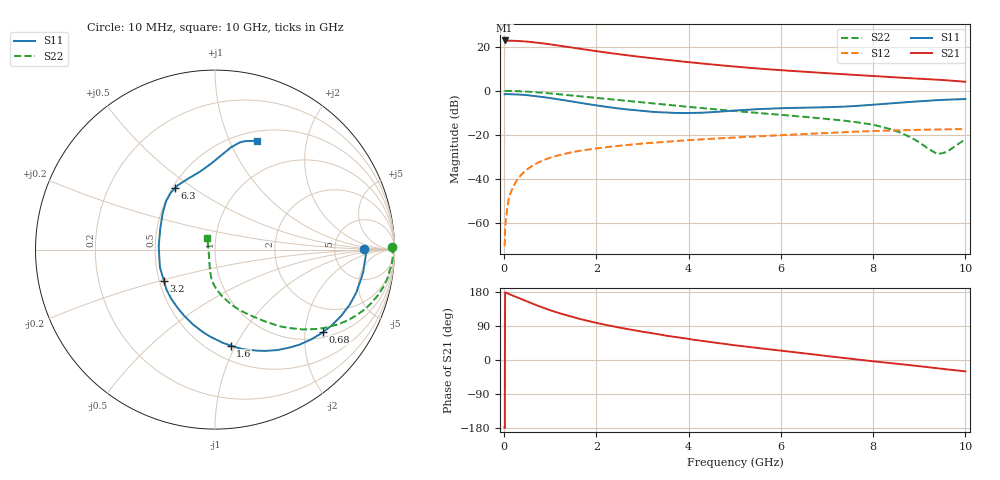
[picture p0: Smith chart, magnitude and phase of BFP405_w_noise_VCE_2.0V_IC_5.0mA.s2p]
! Infineon Technologies  Discrete & RF Semiconductors
! BFP405
! VCE =  2.0 V,  IC =  5.0 mA
! Common Emitter S-Parameters:  Jan 2016
# GHz  S  MA  R  50
!  f  S11  S21  S12  S22
! GHz  MAG  ANG  MAG  ANG  MAG  ANG  MAG  ANG
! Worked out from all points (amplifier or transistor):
!   233 points, 10 MHz to 10 GHz, reference 50 ohm
!   highest |S21| = 22.8 dB at 10 MHz (marker M1)
!   |S21| within 3 dB of that: start of sweep to 1.411 GHz
!   unconditionally stable (mu >= 1): start of sweep to 14.49 MHz; 3.362 GHz to end of sweep
!   at 200 MHz: K = 0.08, MSG = 33.1 dB, |S12| = -43.5 dB
!   at 1.74 GHz: K = 0.55, MSG = 22.8 dB, |S12| = -26.9 dB
!   at 10 GHz: K = 1.47, MAG = 6.7 dB, |S12| = -17.3 dB
!   lowest NFmin = 1.22 dB at 900 MHz
!   S11 on the Smith chart (normalised r, x): 10 MHz: 11, +0; 680 MHz: 1.16, -2.49; 1.6 GHz: 0.63, -0.95; 3.2 GHz: 0.53, -0.21; 6.3 GHz: 0.52, +0.42; 10 GHz: 0.61, +1.27
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0.01  0.8328 0.3  13.8 -177.5  0.0003 8.6  0.9861 1.0
0.02  0.8413 -1.1  13.72 178.3  0.0007 96.3  0.9882 -0.2
0.1  0.8357 -5.7  13.68 174.3  0.0035 87.9  0.9913 -2.6
0.24  0.8261 -13.5  13.56 167.2  0.0081 83.6  0.9801 -6.6
0.5  0.794 -27.8  12.99 154.0  0.0166 76.5  0.9556 -13.4
0.68  0.7577 -37.3  12.41 145.4  0.0219 72.1  0.9278 -17.8
0.9  0.7085 -48.4  11.66 135.4  0.0279 67.3  0.8883 -22.8
1.1  0.6588 -58.2  10.92 127.2  0.0327 63.2  0.8501 -26.8
1.38  0.5911 -71.1  9.877 116.8  0.0386 58.4  0.7951 -31.8
1.6  0.5416 -80.8  9.126 109.5  0.0428 55.2  0.754 -35.2
1.68  0.5256 -84.2  8.858 107.1  0.0442 54.2  0.7396 -36.3
2  0.4653 -98.1  7.901 97.9  0.0494 50.4  0.6854 -40.4
2.4  0.407 -115.0  6.915 87.8  0.0553 46.5  0.6252 -44.8
3.2  0.3334 -148.7  5.469 70.9  0.066 39.8  0.5206 -52.5
3.4  0.3241 -157.5  5.184 66.7  0.0686 38.3  0.4964 -54.4
4  0.3142 176.7  4.446 55.2  0.0759 34.0  0.4309 -60.2
5.1  0.3607 142.8  3.457 37.5  0.0881 26.4  0.3397 -70.8
6.3  0.4082 123.0  2.787 20.5  0.1017 18.9  0.2679 -80.3
6.8  0.4182 114.1  2.577 13.4  0.1079 15.5  0.2402 -84.5
8.4  0.5199 87.0  2.032 -8.5  0.1255 2.5  0.1322 -101.2
9.4  0.6127 77.0  1.778 -22.0  0.1325 -5.3  0.0364 -166.1
10  0.649 69.0  1.598 -30.0  0.1357 -9.3  0.0793 123.0
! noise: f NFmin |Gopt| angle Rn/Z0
0.9  1.22  0.36  11  0.33
1.8  1.49  0.28  18  0.31
2.4  1.64  0.24  26  0.31
3  1.66  0.21  44  0.29
4  1.83  0.1  66  0.25
5  2.19  0.05  139  0.23
